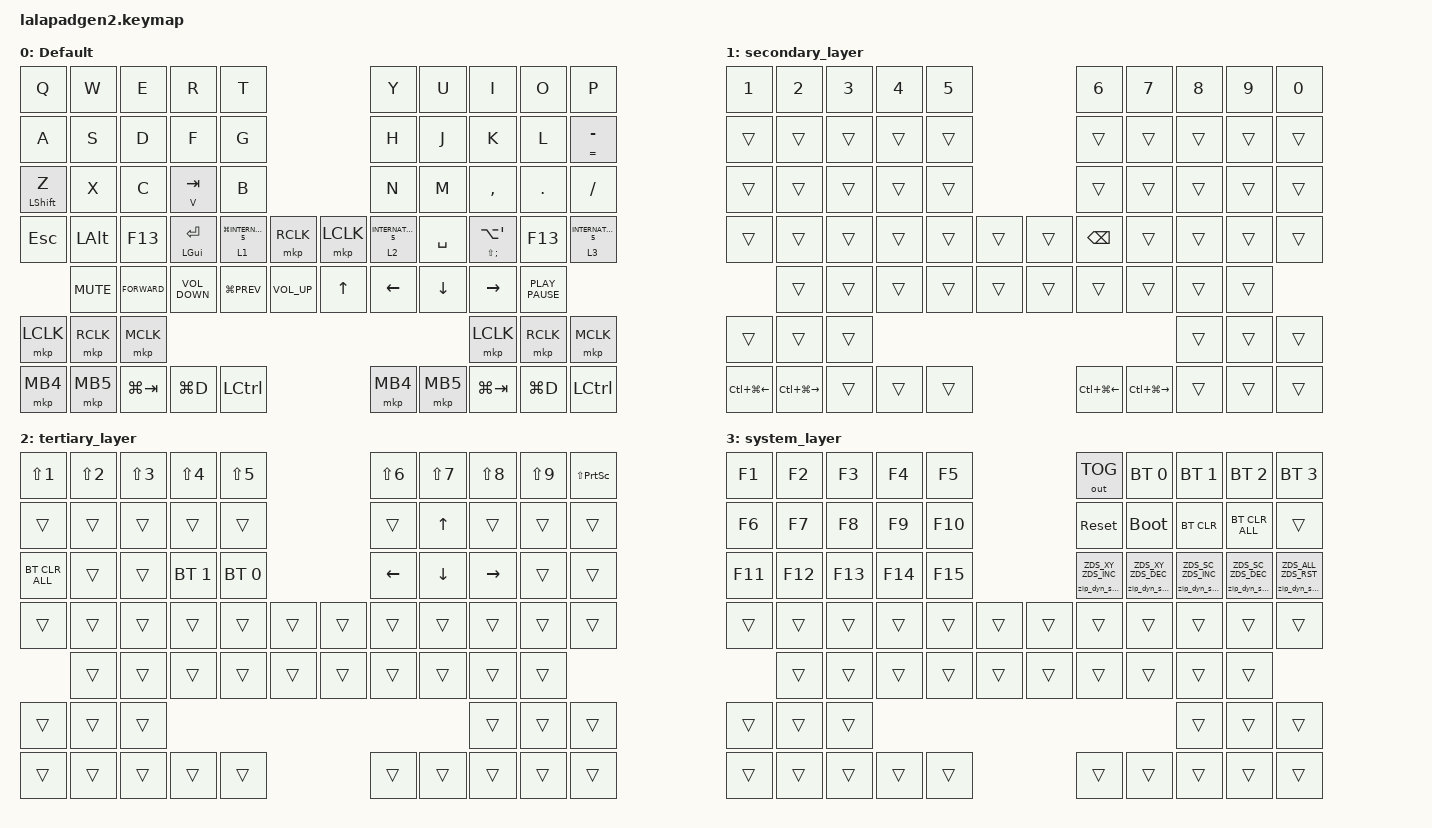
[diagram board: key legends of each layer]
#include <input/processors.dtsi>
#include <dt-bindings/zmk/zip_dynamic_scale.h>
#include <behaviors.dtsi>
#include <dt-bindings/zmk/bt.h>
#include <dt-bindings/zmk/keys.h>
#include <dt-bindings/zmk/outputs.h>
#include <dt-bindings/zmk/pointing.h>

#define DEFAULT_LAYER   0
#define SECONDARY_LAYER 1
#define TERTIARY_LAYER  2
#define SYSTEM_LAYER    3

&mt { quick-tap-ms = <200>; };

&lt { quick-tap-ms = <200>; };

/ {
    behaviors {
        zip_dyn_scale: zip_dyn_scale {
            compatible = "zmk,behavior-zip-dynamic-scale";
            #binding-cells = <2>;
        };

        zip_dyn_scale_set: zip_dyn_scale_set {
            compatible = "zmk,behavior-zip-dynamic-scale-set";
            #binding-cells = <2>;
        };

        mt2: mod_tap2 {
            compatible = "zmk,behavior-hold-tap";
            #binding-cells = <2>;
            flavor = "tap-preferred";
            tapping-term-ms = <200>;
            quick-tap-ms = <200>;
            require-prior-idle-ms = <125>;
            bindings = <&kp>, <&kp>;
        };

        tap_dance_layer_1and2: tap_dance_layer_1and2 {
            compatible = "zmk,behavior-tap-dance";
            label = "td_mo12";
            #binding-cells = <0>;
            bindings = <&mo 1>, <&mo 2>;
        };
    };

    combos {
        compatible = "zmk,combos";

        CONBO_ESC {
            bindings = <&kp ESCAPE>;
            key-positions = <0 1>;
        };

        COMBO_TAB {
            bindings = <&kp TAB>;
            key-positions = <10 11>;
        };
    };

    keymap {
        compatible = "zmk,keymap";

        DEFAULT_LAYER {
            display-name = "Default";
            bindings = <
&kp Q              &kp W         &kp E          &kp R               &kp T                                                  &kp Y                  &kp U      &kp I                  &kp O             &kp P
&kp A              &kp S         &kp D          &kp F               &kp G                                                  &kp H                  &kp J      &kp K                  &kp L             &mt2 EQUAL MINUS
&mt2 LEFT_SHIFT Z  &kp X         &kp C          &mt2 V TAB          &kp B                                                  &kp N                  &kp M      &kp COMMA              &kp PERIOD        &kp SLASH
&kp ESCAPE         &kp LEFT_ALT  &kp F13        &mt LEFT_GUI ENTER  &lt 1 LG(INTERNATIONAL_5)  &mkp RCLK        &mkp LCLK  &lt 2 INTERNATIONAL_5  &kp SPACE  &mt LS(SEMI) LA(APOS)  &kp F13           &lt 3 INTERNATIONAL_5
                   &kp C_MUTE    &kp K_FORWARD  &kp C_VOLUME_DOWN   &kp LG(C_PREV)             &kp C_VOLUME_UP  &kp UP     &kp LEFT               &kp DOWN   &kp RIGHT              &kp K_PLAY_PAUSE
&mkp LCLK          &mkp RCLK     &mkp MCLK                                                                                                                   &mkp LCLK              &mkp RCLK         &mkp MCLK
&mkp MB4           &mkp MB5      &kp LG(TAB)    &kp LG(D)           &kp LCTRL                                              &mkp MB4               &mkp MB5   &kp LG(TAB)            &kp LG(D)         &kp LCTRL
            >;
        };

        SECONDARY_LAYER {
            display-name = "secondary_layer";
            bindings = <
&kp NUMBER_1      &kp NUMBER_2       &kp NUMBER_3  &kp NUMBER_4  &kp N5                  &kp NUMBER_6      &kp N7             &kp N8  &kp N9  &kp N0
&trans            &trans             &trans        &trans        &trans                  &trans            &trans             &trans  &trans  &trans
&trans            &trans             &trans        &trans        &trans                  &trans            &trans             &trans  &trans  &trans
&trans            &trans             &trans        &trans        &trans  &trans  &trans  &kp BACKSPACE     &trans             &trans  &trans  &trans
                  &trans             &trans        &trans        &trans  &trans  &trans  &trans            &trans             &trans  &trans
&trans            &trans             &trans                                                                                   &trans  &trans  &trans
&kp LC(LG(LEFT))  &kp LC(LG(RIGHT))  &trans        &trans        &trans                  &kp LC(LG(LEFT))  &kp LC(LG(RIGHT))  &trans  &trans  &trans
            >;
        };

        TERTIARY_LAYER {
            display-name = "tertiary_layer";
            bindings = <
&kp LS(NUMBER_1)  &kp LS(NUMBER_2)  &kp LS(NUMBER_3)  &kp LS(NUMBER_4)  &kp LS(N5)                    &kp LS(NUMBER_6)  &kp LS(N7)      &kp LS(N8)       &kp LS(N9)  &kp LS(PRINTSCREEN)
&trans            &trans            &trans            &trans            &trans                        &trans            &kp UP_ARROW    &trans           &trans      &trans
&bt BT_CLR_ALL    &trans            &trans            &bt BT_SEL 1      &bt BT_SEL 0                  &kp LEFT_ARROW    &kp DOWN_ARROW  &kp RIGHT_ARROW  &trans      &trans
&trans            &trans            &trans            &trans            &trans        &trans  &trans  &trans            &trans          &trans           &trans      &trans
                  &trans            &trans            &trans            &trans        &trans  &trans  &trans            &trans          &trans           &trans
&trans            &trans            &trans                                                                                              &trans           &trans      &trans
&trans            &trans            &trans            &trans            &trans                        &trans            &trans          &trans           &trans      &trans
            >;
        };

        SYSTEM_LAYER {
            display-name = "system_layer";
            bindings = <
&kp F1   &kp F2   &kp F3   &kp F4   &kp F5                   &out OUT_TOG                   &bt BT_SEL 0                   &bt BT_SEL 1                   &bt BT_SEL 2                   &bt BT_SEL 3
&kp F6   &kp F7   &kp F8   &kp F9   &kp F10                  &sys_reset                     &bootloader                    &bt BT_CLR                     &bt BT_CLR_ALL                 &trans
&kp F11  &kp F12  &kp F13  &kp F14  &kp F15                  &zip_dyn_scale ZDS_XY ZDS_INC  &zip_dyn_scale ZDS_XY ZDS_DEC  &zip_dyn_scale ZDS_SC ZDS_INC  &zip_dyn_scale ZDS_SC ZDS_DEC  &zip_dyn_scale ZDS_ALL ZDS_RST
&trans   &trans   &trans   &trans   &trans   &trans  &trans  &trans                         &trans                         &trans                         &trans                         &trans
         &trans   &trans   &trans   &trans   &trans  &trans  &trans                         &trans                         &trans                         &trans
&trans   &trans   &trans                                                                                                   &trans                         &trans                         &trans
&trans   &trans   &trans   &trans   &trans                   &trans                         &trans                         &trans                         &trans                         &trans
            >;
        };
    };

    conditional_layers {
        compatible = "zmk,conditional-layers";

        Cond_Syslayer {
            if-layers = <1 2>;
            then-layer = <3>;
        };
    };
};
